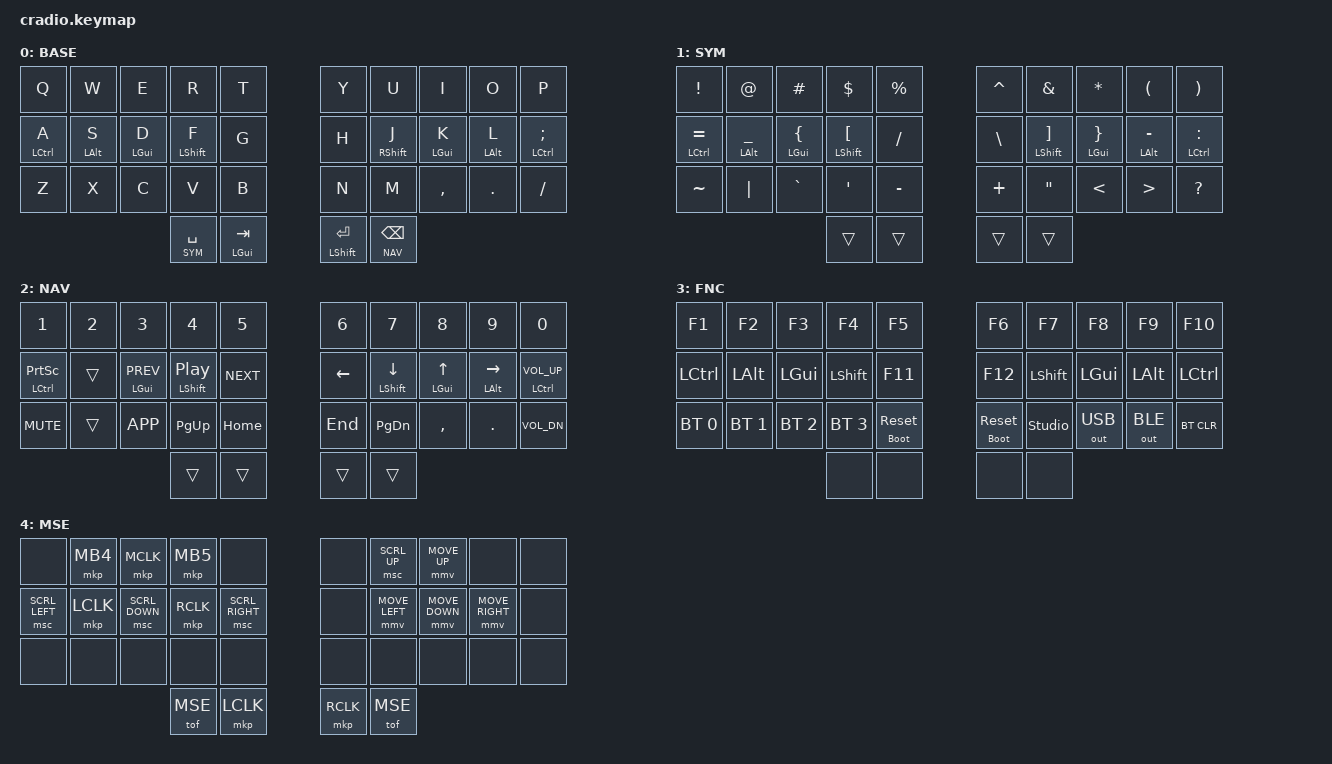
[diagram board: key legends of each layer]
/*                              34 KEY MATRIX / LAYOUT MAPPING

  ╭────────────────────┬────────────────────╮ ╭─────────────────────┬─────────────────────╮
  │  0   1   2   3   4 │  5   6   7   8   9 │ │ LT4 LT3 LT2 LT1 LT0 │ RT0 RT1 RT2 RT3 RT4 │
  │ 10  11  12  13  14 │ 15  16  17  18  19 │ │ LM4 LM3 LM2 LM1 LM0 │ RM0 RM1 RM2 RM3 RM4 │
  │ 20  21  22  23  24 │ 25  26  27  28  29 │ │ LB4 LB3 LB2 LB1 LB0 │ RB0 RB1 RB2 RB3 RB4 │
  ╰───────────╮ 30  31 │ 32  33 ╭───────────╯ ╰───────────╮ LH1 LH0 │ RH0 RH1 ╭───────────╯
              ╰────────┴────────╯                         ╰─────────┴─────────╯             */

#include <behaviors.dtsi>
#include <dt-bindings/zmk/keys.h>
#include <dt-bindings/zmk/bt.h>
#include <dt-bindings/zmk/outputs.h>
#include <behaviors/rgbled_widget.dtsi>

#define LT0  4
#define LT1  3
#define LT2  2
#define LT3  1
#define LT4  0
#define RT0  5
#define RT1  6
#define RT2  7
#define RT3  8
#define RT4  9
#define LM0 14
#define LM1 13
#define LM2 12
#define LM3 11
#define LM4 10
#define RM0 15
#define RM1 16
#define RM2 17
#define RM3 18
#define RM4 19
#define LB0 24
#define LB1 23
#define LB2 22
#define LB3 21
#define LB4 20
#define RB0 25
#define RB1 26
#define RB2 27
#define RB3 28
#define RB4 29
#define LH0 31
#define LH1 30
#define RH0 32
#define RH1 33

#define KEYS_L LT0 LT1 LT2 LT3 LT4 LM0 LM1 LM2 LM3 LM4 LB0 LB1 LB2 LB3 LB4
#define LTROW  LT0 LT1 LT2 LT3 LT4
#define LMROW  LM0 LM1 LM2 LM3 LM4
#define KEYS_R RT0 RT1 RT2 RT3 RT4 RM0 RM1 RM2 RM3 RM4 RB0 RB1 RB2 RB3 RB4
#define RTROW  RT0 RT1 RT2 RT3 RT4
#define RMROW  RM0 RM1 RM2 RM3 RM4
#define THUMBS     LH1 LH0 RH0 RH1

#include "includes/oskey.dtsi"

#define BASE 0
#define SYM 1
#define NAV 2
#define FNC 3
#define MSE 4

#define ZMK_POINTING_DEFAULT_MOVE_VAL 1200
#define ZMK_POINTING_DEFAULT_SCRL_VAL 100
#include <dt-bindings/zmk/pointing.h>
#include <input/processors.dtsi>

&mmv {
    acceleration-exponent = <1>;
    time-to-max-speed-ms = <500>;
    trigger-period-ms = <16>;
};

&msc {
    acceleration-exponent = <1>;
    time-to-max-speed-ms = <70>;
    trigger-period-ms = <16>;
};

&caps_word { continue-list = <UNDERSCORE BACKSPACE DELETE SPACE MINUS DEL N1 N2 N3 N4 N5 N6 N7 N8 N9 N0>; };

/ {
    macros {
        main_macro: main_macro {
            compatible = "zmk,behavior-macro";
            #binding-cells = <0>;
            bindings = <&kp LS(M) &kp U &kp S &kp T &kp A &kp N &kp G &kp A &kp T &kp C &kp O &kp V &kp E &kp N &kp T &kp R &kp Y &kp DOT &kp N1 &kp N9 &kp N6 &kp N5>;
            label = "MAIN_MACRO";
        };

    };

    cond_layers {
        compatible = "zmk,conditional-layers";
        func_tristate {
            if-layers = <SYM NAV>;
            then-layer = <FNC>;
        };
    };

    behaviors {
        tof: toggle_layer_off {
            compatible = "zmk,behavior-toggle-layer";
            #binding-cells = <1>;
            display-name = "Toggle Layer off";
            toggle-mode = "off";
        };

        hmr: hmr {
            compatible = "zmk,behavior-hold-tap";
            label = "HMR";
            bindings = <&kp>, <&kp>;
            #binding-cells = <2>;
            tapping-term-ms = <230>;
            quick-tap-ms = <150>;
            require-prior-idle-ms = <130>;
            flavor = "balanced";
            hold-trigger-key-positions = <KEYS_L THUMBS>;
            hold-trigger-on-release;
        };

        hml: hml {
            compatible = "zmk,behavior-hold-tap";
            label = "HML";
            bindings = <&kp>, <&kp>;
            #binding-cells = <2>;
            tapping-term-ms = <230>;
            quick-tap-ms = <155>;
            require-prior-idle-ms = <130>;
            flavor = "balanced";
            hold-trigger-key-positions = <KEYS_R LH0 RH0 RH1>;
            hold-trigger-on-release;
        };

        rth: rthumb {
            compatible = "zmk,behavior-hold-tap";
            label = "RTHUMB";
            bindings = <&mo>, <&kp>;
            flavor = "hold-preferred";
            #binding-cells = <2>;
            tapping-term-ms = <230>;
            quick-tap-ms = <140>;
            hold-trigger-key-positions = <LTROW RTROW RMROW LB0 RB0 LM4 LB4 RB4 THUMBS>;
        };

        lth: lthumb {
            compatible = "zmk,behavior-hold-tap";
            label = "LTHUMB";
            bindings = <&mo>, <&kp>;
            flavor = "hold-preferred";
            #binding-cells = <2>;
            tapping-term-ms = <230>;
            quick-tap-ms = <140>;
        };

        hp: hold_priority {
            compatible = "zmk,behavior-hold-tap";
            label = "HOLD_PRIORITY";
            bindings = <&kp>, <&kp>;
            flavor = "hold-preferred";
            #binding-cells = <2>;
            tapping-term-ms = <230>;
            quick-tap-ms = <150>;
        };

        lsm: left_shift_mode {
            compatible = "zmk,behavior-hold-tap";
            label = "LEFT_SHIFT_MODE";
            bindings = <&kp>, <&kp>;
            flavor = "hold-preferred";
            #binding-cells = <2>;
            tapping-term-ms = <190>;
            quick-tap-ms = <150>;
            require-prior-idle-ms = <120>;
            hold-trigger-key-positions = <KEYS_R THUMBS>;
        };

        rsm: right_shift_mode {
            compatible = "zmk,behavior-hold-tap";
            label = "RIGHT_SHIFT_MODE";
            bindings = <&kp>, <&kp>;
            flavor = "hold-preferred";
            #binding-cells = <2>;
            tapping-term-ms = <190>;
            quick-tap-ms = <150>;
            require-prior-idle-ms = <120>;
            hold-trigger-key-positions = <KEYS_L THUMBS>;
        };

        rst_boot: rst_boot {
            compatible = "zmk,behavior-hold-tap";
            #binding-cells = <2>;
            tapping-term-ms = <500>;
            flavor = "tap-preferred";
            bindings = <&bootloader>, <&sys_reset>;
        };
    };

    combos {
        compatible = "zmk,combos";

        delete {
            timeout-ms = <40>;
            require-prior-idle-ms = <100>;
            bindings = <&kp DELETE>;
            key-positions = <LM2 LM1>;
            layers = <BASE>;
        };

        copy {
            timeout-ms = <50>;
            require-prior-idle-ms = <120>;
            bindings = <&ok_copy>;
            key-positions = <LB3 LB2>;
            layers = <BASE>;
        };

        paste {
            timeout-ms = <50>;
            require-prior-idle-ms = <120>;
            bindings = <&ok_paste>;
            key-positions = <LB2 LB1>;
            layers = <BASE>;
        };

        escape {
            timeout-ms = <40>;
            require-prior-idle-ms = <0>;
            bindings = <&kp ESC>;
            key-positions = <RM1 RM2>;
            layers = <BASE>;
        };

        enter {
            timeout-ms = <40>;
            require-prior-idle-ms = <220>;
            slow-release;
            bindings = <&kp ENTER>;
            key-positions = <LM4 LM3 LM2>;
            layers = <BASE>;
        };

        caps_word {
            timeout-ms = <50>;
            require-prior-idle-ms = <0>;
            bindings = <&caps_word>;
            key-positions = <LM2 LM1 RM1 RM2>;
            layers = <BASE>;
        };

        cut {
            timeout-ms = <40>;
            require-prior-idle-ms = <120>;
            bindings = <&ok_cut>;
            key-positions = <LB3 LB1>;
            layers = <BASE>;
        };

        // Q + W: quick Escape on the left hand.
        escape_left {
            timeout-ms = <40>;
            require-prior-idle-ms = <200>;
            slow-release;
            bindings = <&kp ESC>;
            key-positions = <LT4 LT3>;
            layers = <BASE>;
        };

        // Q + W + O + P: retain the non-secret personal macro.
        main_macro_combo {
            timeout-ms = <50>;
            require-prior-idle-ms = <150>;
            bindings = <&main_macro>;
            key-positions = <LT4 LT3 RT3 RT4>;
            layers = <BASE>;
        };

        undo {
            timeout-ms = <50>;
            require-prior-idle-ms = <120>;
            bindings = <&ok_undo>;
            key-positions = <LB4 LB3>;
            layers = <BASE>;
        };

        redo {
            timeout-ms = <50>;
            require-prior-idle-ms = <120>;
            bindings = <&ok_redo>;
            key-positions = <LB4 LB2>;
            layers = <BASE>;
        };

        select_all {
            timeout-ms = <50>;
            require-prior-idle-ms = <120>;
            bindings = <&ok_select_all>;
            key-positions = <LM4 LM3>;
            layers = <BASE>;
        };

        save {
            timeout-ms = <50>;
            require-prior-idle-ms = <120>;
            bindings = <&ok_save>;
            key-positions = <LM3 LM2>;
            layers = <BASE>;
        };

        find {
            timeout-ms = <50>;
            require-prior-idle-ms = <120>;
            bindings = <&ok_find>;
            key-positions = <LM1 LM2>;
            layers = <BASE>;
        };

        tab_key {
            timeout-ms = <50>;
            require-prior-idle-ms = <150>;
            bindings = <&kp TAB>;
            key-positions = <LT2 LT3>;
            layers = <BASE>;
        };

        backtick {
            timeout-ms = <40>;
            require-prior-idle-ms = <120>;
            bindings = <&kp GRAVE>;
            key-positions = <LB1 LB2>;
            layers = <BASE>;
        };
    };

    keymap {
        compatible = "zmk,keymap";

        base {
            display-name = "BASE";
            bindings = <
     &kp Q         &kp W         &kp E         &kp R         &kp T             &kp Y            &kp U           &kp I         &kp O            &kp P
     &hml LCTRL A  &hml LALT S   &hml LGUI D   &lsm LSHFT F  &kp G             &kp H            &rsm RSHFT J    &hmr LGUI K   &hmr LALT L      &hmr LCTRL SEMI
     &kp Z         &kp X         &kp C         &kp V         &kp B             &kp N            &kp M           &kp COMMA     &kp DOT          &kp SLASH
                                               &lth SYM SPACE &hp LGUI TAB     &hp LSHFT ENTER  &rth NAV BSPC
            >;
        };

        symbol {
          display-name = "SYM";
          bindings = <
    &kp EXCL           &kp AT_SIGN        &kp HASH           &kp DLLR            &kp PRCNT          &kp CARET        &kp AMPS             &kp ASTERISK         &kp LPAR              &kp RPAR
    &hml LCTRL EQUAL   &hml LALT UNDER    &hml LGUI LBRC     &hml LSHFT LBKT     &kp SLASH          &kp BSLH         &hmr LSHFT RBKT      &hmr LGUI RBRC       &hmr LALT MINUS       &hmr LCTRL COLON
    &kp TILDE          &kp PIPE           &kp GRAVE          &kp SQT             &kp MINUS          &kp PLUS         &kp DOUBLE_QUOTES    &kp LESS_THAN        &kp GREATER_THAN      &kp QUESTION
                                                             &trans              &trans             &trans           &trans
          >;
       };

        nav_number {
            display-name = "NAV";
            bindings = <
     &kp N1                 &kp N2     &kp N3              &kp N4            &kp N5              &kp N6            &kp N7             &kp N8         &kp N9             &kp N0
     &hml LCTRL PSCRN       &trans     &hml LGUI C_PREV    &lsm LSHFT C_PP   &kp C_NEXT          &kp LEFT          &hmr LSHFT DOWN    &hmr LGUI UP   &hmr LALT RIGHT    &hmr LCTRL C_VOL_UP
     &kp C_MUTE             &trans     &kp K_APP           &kp PG_UP         &kp HOME            &kp END           &kp PG_DN          &kp COMMA      &kp DOT            &kp C_VOL_DN
                                                           &trans            &trans              &trans            &trans
        >;
      };

        settings_function {
            display-name = "FNC";
            bindings = <
     &kp F1          &kp F2          &kp F3          &kp F4          &kp F5              &kp F6            &kp F7           &kp F8         &kp F9         &kp F10
     &kp LCTRL       &kp LALT        &kp LGUI        &kp LSHFT       &kp F11             &kp F12           &kp LSHFT        &kp LGUI       &kp LALT       &kp LCTRL
     &bt BT_SEL 0    &bt BT_SEL 1    &bt BT_SEL 2    &bt BT_SEL 3    &rst_boot 0 0       &rst_boot 0 0     &studio_unlock   &out OUT_USB   &out OUT_BLE   &bt BT_CLR
                                                     &none           &none               &none             &none
         >;
      };

        mouse_layer {
            display-name = "MSE";
            bindings = <
     &none              &mkp MB4         &mkp MCLK           &mkp MB5       &none                  &none             &msc SCRL_UP      &mmv MOVE_UP      &none               &none
     &msc SCRL_LEFT     &mkp LCLK        &msc SCRL_DOWN      &mkp RCLK      &msc SCRL_RIGHT        &none             &mmv MOVE_LEFT    &mmv MOVE_DOWN    &mmv MOVE_RIGHT     &none
     &none              &none            &none               &none          &none                  &none             &none             &none             &none               &none
                                                             &tof MSE       &mkp LCLK              &mkp RCLK         &tof MSE
         >;
        };
    };
};
